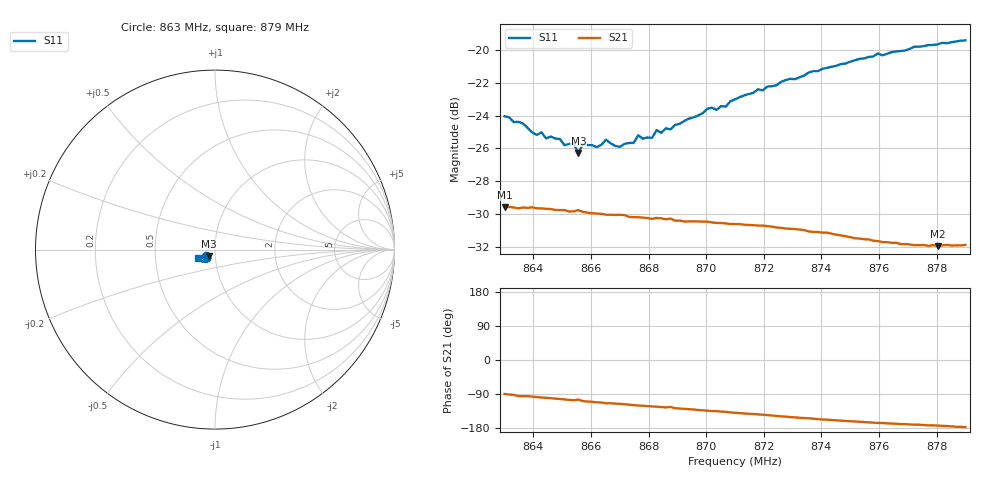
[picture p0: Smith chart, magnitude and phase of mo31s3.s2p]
# HZ S RI R 50
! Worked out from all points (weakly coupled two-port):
!   101 points, 863 MHz to 879 MHz, reference 50 ohm
!   highest |S21| = -29.57 dB at 863 MHz (marker M1); lowest = -32.0 dB at 878.04 MHz (marker M2)
!   lowest |S11| = -26.3 dB at 865.56 MHz (marker M3), VSWR 1.10, Z = 46.7 - j3.33 ohm
!   |S11| at or under -10 dB: start of sweep to end of sweep
!   S12 and S22 are empty: the file has one direction only
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8.63e8  -0.051 -0.0368  0.000282 -0.0332  0 0  0 0
8.6412e8  -0.0424 -0.0353  -0.00445 -0.0326  0 0  0 0
8.6428e8  -0.0421 -0.0371  -0.00509 -0.0325  0 0  0 0
8.6444e8  -0.0417 -0.0339  -0.0056 -0.0323  0 0  0 0
8.6492e8  -0.0398 -0.0359  -0.00724 -0.0317  0 0  0 0
8.6508e8  -0.0368 -0.0357  -0.00785 -0.0315  0 0  0 0
8.654e8  -0.0356 -0.0376  -0.00906 -0.0309  0 0  0 0
8.6556e8  -0.033 -0.0356  -0.00813 -0.0315  0 0  0 0
8.6572e8  -0.0342 -0.0386  -0.0102 -0.0304  0 0  0 0
8.662e8  -0.0312 -0.0398  -0.0117 -0.0295  0 0  0 0
8.6652e8  -0.0334 -0.0415  -0.0129 -0.0287  0 0  0 0
8.67e8  -0.0295 -0.0412  -0.0136 -0.0283  0 0  0 0
8.6748e8  -0.0274 -0.0443  -0.0151 -0.027  0 0  0 0
8.6764e8  -0.0293 -0.0465  -0.0155 -0.0268  0 0  0 0
8.6812e8  -0.026 -0.0473  -0.0164 -0.0258  0 0  0 0
8.6828e8  -0.0285 -0.0494  -0.0168 -0.0258  0 0  0 0
8.6844e8  -0.0273 -0.0488  -0.0172 -0.0254  0 0  0 0
8.71e8  -0.0348 -0.0616  -0.0223 -0.0192  0 0  0 0
8.7372e8  -0.0515 -0.0692  -0.0252 -0.0119  0 0  0 0
8.7644e8  -0.0762 -0.0626  -0.0252 -0.0055  0 0  0 0
8.7804e8  -0.0892 -0.0537  -0.025 -0.00307  0 0  0 0
8.79e8  -0.0974 -0.0444  -0.0254 -0.00129  0 0  0 0
